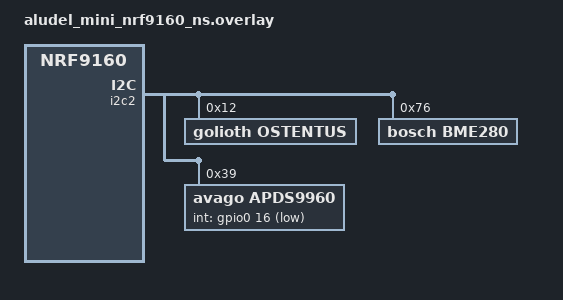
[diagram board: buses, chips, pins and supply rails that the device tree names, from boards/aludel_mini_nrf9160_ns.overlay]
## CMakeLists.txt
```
# Copyright (c) 2022-2023 Golioth, Inc.
# SPDX-License-Identifier: Apache-2.0

cmake_minimum_required(VERSION 3.20.0)

find_package(Zephyr REQUIRED HINTS $ENV{ZEPHYR_BASE})

project(soil-moisture)

target_sources(app PRIVATE src/main.c)
target_sources(app PRIVATE src/app_rpc.c)
target_sources(app PRIVATE src/app_settings.c)
target_sources(app PRIVATE src/app_state.c)
target_sources(app PRIVATE src/app_sensors.c)
```

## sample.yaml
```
# Copyright (c) 2022-2023 Golioth, Inc.
# SPDX-License-Identifier: Apache-2.0

sample:
  description: Golioth Soil Moisture Monitor Reference Design
  name: soil-moisture
common:
  harness: net
  platform_allow: >
    nrf9160dk_nrf9160_ns
  tags: golioth
```

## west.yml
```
# Copyright (c) 2022-2023 Golioth, Inc.
# SPDX-License-Identifier: Apache-2.0

manifest:
  version: 0.7

  projects:
    - name: golioth
      path: modules/lib/golioth
      revision: v0.7.1
      url: https://github.com/golioth/golioth-zephyr-sdk
      west-commands: scripts/west-commands.yml
      import:
        file: west-ncs.yml
        path-prefix: deps
        name-allowlist:
          - nrf
          - zephyr
          - cmsis
          - hal_nordic
          - mbedtls
          - mbedtls-nrf
          - mcuboot
          - net-tools
          - nrfxlib
          - qcbor
          - segger
          - tfm-mcuboot
          - tinycrypt
          - trusted-firmware-m
          - zcbor

    - name: golioth-zephyr-boards
      path: deps/modules/lib/golioth-boards
      revision: v1.0.1
      url: https://github.com/golioth/golioth-zephyr-boards

    - name: libostentus
      path: deps/modules/lib/libostentus
      revision: v1.0.0
      url: https://github.com/golioth/libostentus

    - name: zephyr-network-info
      path: deps/modules/lib/network-info
      revision: v1.0.1
      url: https://github.com/golioth/zephyr-network-info

  self:
    path: app
```

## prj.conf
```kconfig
# Copyright (c) 2022-2023 Golioth, Inc.
# SPDX-License-Identifier: Apache-2.0

# Enable Golioth Firmware SDK
CONFIG_GOLIOTH_FIRMWARE_SDK=y

# Golioth services used in this app
CONFIG_GOLIOTH_FW_UPDATE=y
CONFIG_GOLIOTH_LIGHTDB_STATE=y
CONFIG_LOG_BACKEND_GOLIOTH=y
CONFIG_GOLIOTH_RPC=y
CONFIG_GOLIOTH_SETTINGS=y
CONFIG_GOLIOTH_STREAM=y

# Enable common sample library
CONFIG_GOLIOTH_SAMPLE_COMMON=y

# Configure Golioth SDK dependencies
CONFIG_ZVFS_EVENTFD_MAX=14
CONFIG_ZVFS_OPEN_MAX=23
CONFIG_LOG_PROCESS_THREAD_STACK_SIZE=1536
CONFIG_MBEDTLS_ENABLE_HEAP=y
CONFIG_MBEDTLS_HEAP_SIZE=10240
CONFIG_NETWORKING=y
CONFIG_NET_IPV4=y
CONFIG_COAP_EXTENDED_OPTIONS_LEN=y
CONFIG_COAP_EXTENDED_OPTIONS_LEN_VALUE=39

# Application
CONFIG_MAIN_STACK_SIZE=2048
CONFIG_NET_LOG=y
CONFIG_NET_SHELL=y
CONFIG_REBOOT=y

# Flash memory (etc.) for firmware upgrade
CONFIG_FLASH=y
CONFIG_FLASH_MAP=y
CONFIG_NVS=y
CONFIG_STREAM_FLASH=y
CONFIG_IMG_MANAGER=y
CONFIG_IMG_ERASE_PROGRESSIVELY=y
CONFIG_REBOOT=y

# The rest of the runtime credentials config
CONFIG_SETTINGS=y
CONFIG_GOLIOTH_SETTINGS=y
CONFIG_SETTINGS_RUNTIME=y
CONFIG_GOLIOTH_SAMPLE_SETTINGS_AUTOLOAD=y
CONFIG_GOLIOTH_SAMPLE_SETTINGS_SHELL=y

# Misc.
CONFIG_JSON_LIBRARY=y

# Longer response length needed for network info
CONFIG_GOLIOTH_RPC_MAX_RESPONSE_LEN=512
CONFIG_I2C=y
CONFIG_SENSOR=y

# Shell Config
CONFIG_SHELL=y
CONFIG_I2C_SHELL=y
CONFIG_SENSOR_SHELL=y
```

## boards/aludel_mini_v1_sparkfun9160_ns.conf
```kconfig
# Copyright (c) 2023 Golioth, Inc.
# SPDX-License-Identifier: Apache-2.0

# General config
CONFIG_HEAP_MEM_POOL_SIZE=4096
CONFIG_NEWLIB_LIBC=y

# Networking
CONFIG_NET_SOCKETS_OFFLOAD=y
CONFIG_NET_IPV6=y
CONFIG_NET_IPV6_NBR_CACHE=n
CONFIG_NET_IPV6_MLD=n

# Increase native TLS socket implementation, so that it is chosen instead of
# offloaded nRF91 sockets
CONFIG_NET_SOCKETS_TLS_PRIORITY=35

# Modem library
CONFIG_NRF_MODEM_LIB=y
CONFIG_NRF_MODEM_LIB_ON_FAULT_APPLICATION_SPECIFIC=y

# LTE connectivity with network connection manager
CONFIG_LTE_CONNECTIVITY=y
CONFIG_NET_CONNECTION_MANAGER=y
CONFIG_NET_CONNECTION_MANAGER_STACK_SIZE=1024

# Increased sysworkq size, due to LTE connectivity
CONFIG_SYSTEM_WORKQUEUE_STACK_SIZE=2048

# Disable options y-selected by NCS for no good reason
CONFIG_MBEDTLS_KEY_EXCHANGE_DHE_PSK_ENABLED=n
CONFIG_MBEDTLS_KEY_EXCHANGE_DHE_RSA_ENABLED=n

# Battery Support
CONFIG_ALUDEL_BATTERY_MONITOR=y

# Add Network Info Support
CONFIG_MODEM_INFO=y
CONFIG_GOLIOTH_RPC_MAX_RESPONSE_LEN=512

# Generate MCUboot compatible images
CONFIG_BOOTLOADER_MCUBOOT=y
```

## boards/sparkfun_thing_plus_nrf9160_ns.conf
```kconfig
#
# Copyright (c) 2022 Golioth, Inc.
#
# SPDX-License-Identifier: Apache-2.0

# General config
CONFIG_HEAP_MEM_POOL_SIZE=4096
CONFIG_NEWLIB_LIBC=y

# Networking
CONFIG_NET_SOCKETS_OFFLOAD=y
CONFIG_NET_IPV6=y
CONFIG_NET_IPV6_NBR_CACHE=n
CONFIG_NET_IPV6_MLD=n

# Increase native TLS socket implementation, so that it is chosen instead of
# offloaded nRF91 sockets
CONFIG_NET_SOCKETS_TLS_PRIORITY=35

# Modem library
CONFIG_NRF_MODEM_LIB=y
CONFIG_NRF_MODEM_LIB_ON_FAULT_APPLICATION_SPECIFIC=y

# LTE connectivity with network connection manager
CONFIG_LTE_CONNECTIVITY=y
CONFIG_NET_CONNECTION_MANAGER=y
CONFIG_NET_CONNECTION_MANAGER_STACK_SIZE=1024

# Increased sysworkq size, due to LTE connectivity
CONFIG_SYSTEM_WORKQUEUE_STACK_SIZE=2048

# Disable options y-selected by NCS for no good reason
CONFIG_MBEDTLS_KEY_EXCHANGE_DHE_PSK_ENABLED=n
CONFIG_MBEDTLS_KEY_EXCHANGE_DHE_RSA_ENABLED=n

# Battery Support
CONFIG_ALUDEL_BATTERY_MONITOR=n

# Add Network Info Support
CONFIG_MODEM_INFO=y
CONFIG_GOLIOTH_RPC_MAX_RESPONSE_LEN=512

# Generate MCUboot compatible images
CONFIG_BOOTLOADER_MCUBOOT=y
```

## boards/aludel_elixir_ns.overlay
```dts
&i2c2 {
    /* Needed for I2C writes used by libostentus */
    zephyr,concat-buf-size = <48>;

    ostentus@12 {
        status = "okay";
        compatible = "golioth,ostentus";
        reg = <0x12>;
    };

    apds9960: apds9960@39 {
	compatible = "avago,apds9960";
	reg = <0x39>;
	int-gpios = <&gpio0 2 (GPIO_ACTIVE_LOW | GPIO_PULL_UP)>;
    };
};
```

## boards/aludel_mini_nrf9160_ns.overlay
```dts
&i2c2 {
    /* Needed for I2C writes used by libostentus */
    zephyr,concat-buf-size = <48>;

    ostentus@12 {
        status = "okay";
        compatible = "golioth,ostentus";
        reg = <0x12>;
    };

     bme280@76 {
	compatible = "bosch,bme280";
	reg = <0x76>;
        };


    apds9960: apds9960@39 {
	compatible = "avago,apds9960";
	reg = <0x39>;
	int-gpios = <&gpio0 16 (GPIO_ACTIVE_LOW)>;
    };
};
```

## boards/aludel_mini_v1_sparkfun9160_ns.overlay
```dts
/*
 * Copyright (c) 2023 Golioth, Inc.
 *
 * SPDX-License-Identifier: Apache-2.0
 */

/ {
        aliases {
                click-i2c = &i2c1;
        };
};

&i2c1 {
        status = "okay";
	zephyr,concat-buf-size = <48>;

        bme280@76 {
                compatible = "bosch,bme280";
                reg = <0x76>;
        };

        apds9960: apds9960@39 {
	        compatible = "avago,apds9960";
		reg = <0x39>;
		int-gpios = <&gpio0 16 (GPIO_ACTIVE_LOW)>;
        };
};
```

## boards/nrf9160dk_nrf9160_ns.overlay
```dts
/*
 * Copyright (c) 2023 Golioth, Inc.
 *
 * SPDX-License-Identifier: Apache-2.0
 */

/ {
	aliases {
		click-uart = &arduino_serial;
		click-i2c = &arduino_i2c;
		golioth-led = &led2;
	};
};

&arduino_i2c {
	/* Needed for I2C writes used by libostentus */
	zephyr,concat-buf-size = <48>;

	bme280@76 {
                compatible = "bosch,bme280";
                reg = <0x76>;
        };

        apds9960: apds9960@39 {
	        compatible = "avago,apds9960";
		reg = <0x39>;
		int-gpios = <&gpio0 3 (GPIO_ACTIVE_LOW | GPIO_PULL_UP)>;
        };

	lis2dh: lis2dh@18 {
		compatible = "st,lis2dh";
		reg = <0x18>;
	};
};

&pinctrl {
	/*
	 * Arduino Uno provides the same SCL/SDA on two sets of pins, but the
	 * nRF9160-DK maps these pins to two different pairs of GPIO. When using
	 * the Arduino Uno Click Shield board, the P0.18/P0.19 pair must be used.
	 */
	i2c2_default: i2c2_default {
		group1 {
			psels = <NRF_PSEL(TWIM_SDA, 0, 18)>,
				<NRF_PSEL(TWIM_SCL, 0, 19)>;
		};
	};

	i2c2_sleep: i2c2_sleep {
		group1 {
			psels = <NRF_PSEL(TWIM_SDA, 0, 18)>,
				<NRF_PSEL(TWIM_SCL, 0, 19)>;
			low-power-enable;
		};
	};

	/*
	 * The default pin group includes RTS/CTS HW flow control, but the Arduino
	 * Uno Click Shield board does not connect these pins (only TX/RX are used).
	 * This keeps RX/TX on the same pins, but just removes RTS/CTS from the
	 * pin groups.
	 */
	uart1_default: uart1_default {
		group1 {
			psels = <NRF_PSEL(UART_TX, 0, 1)>,
				<NRF_PSEL(UART_RX, 0, 0)>;
		};
	};

	uart1_sleep: uart1_sleep {
		group1 {
			psels = <NRF_PSEL(UART_TX, 0, 1)>,
				<NRF_PSEL(UART_RX, 0, 0)>;
			low-power-enable;
		};
	};
};
```

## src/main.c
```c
/*
 * Copyright (c) 2022-2023 Golioth, Inc.
 *
 * SPDX-License-Identifier: Apache-2.0
 */

#include <zephyr/logging/log.h>
LOG_MODULE_REGISTER(golioth_soil_moisture, LOG_LEVEL_DBG);

#include <app_version.h>
#include "app_rpc.h"
#include "app_settings.h"
#include "app_state.h"
#include "app_sensors.h"
#include <golioth/client.h>
#include <golioth/fw_update.h>
#include <samples/common/net_connect.h>
#include <samples/common/sample_credentials.h>
#include <zephyr/kernel.h>

#ifdef CONFIG_SOC_SERIES_NRF91X
#include <modem/lte_lc.h>
#endif
#ifdef CONFIG_LIB_OSTENTUS
#include <libostentus.h>
#include <libostentus_regmap.h>
static const struct device *o_dev = DEVICE_DT_GET_ANY(golioth_ostentus);
#endif
#ifdef CONFIG_ALUDEL_BATTERY_MONITOR
#include <battery_monitor.h>
#endif

#include <zephyr/drivers/gpio.h>

#ifdef CONFIG_MODEM_INFO
#include <modem/modem_info.h>
#endif

/* Current firmware version; update in VERSION */
static const char *_current_version =
	STRINGIFY(APP_VERSION_MAJOR) "." STRINGIFY(APP_VERSION_MINOR) "." STRINGIFY(APP_PATCHLEVEL);

static struct golioth_client *client;
K_SEM_DEFINE(connected, 0, 1);

static k_tid_t _system_thread = 0;

#if DT_NODE_EXISTS(DT_ALIAS(golioth_led))
static const struct gpio_dt_spec golioth_led = GPIO_DT_SPEC_GET(DT_ALIAS(golioth_led), gpios);
#endif /* DT_NODE_EXISTS(DT_ALIAS(golioth_led)) */
static const struct gpio_dt_spec user_btn = GPIO_DT_SPEC_GET(DT_ALIAS(sw1), gpios);
static struct gpio_callback button_cb_data;

/* forward declarations */
void golioth_connection_led_set(uint8_t state);

void wake_system_thread(void)
{
	k_wakeup(_system_thread);
}

static void on_client_event(struct golioth_client *client, enum golioth_client_event event,
			    void *arg)
{
	bool is_connected = (event == GOLIOTH_CLIENT_EVENT_CONNECTED);

	if (is_connected) {
		k_sem_give(&connected);
		golioth_connection_led_set(1);
	}
	LOG_INF("Golioth client %s", is_connected ? "connected" : "disconnected");
}

static void start_golioth_client(void)
{
	/* Get the client configuration from auto-loaded settings */
	const struct golioth_client_config *client_config = golioth_sample_credentials_get();

	/* Create and start a Golioth Client */
	client = golioth_client_create(client_config);

	/* Register Golioth on_connect callback */
	golioth_client_register_event_callback(client, on_client_event, NULL);

	/* Initialize DFU components */
	golioth_fw_update_init(client, _current_version);

	/*** Call Golioth APIs for other services in dedicated app files ***/

	/* Observe State service data */
	app_state_observe(client);

	/* Set Golioth Client for streaming sensor data */
	app_sensors_set_client(client);

	/* Register Settings service */
	app_settings_register(client);

	/* Register RPC service */
	app_rpc_register(client);
}

#ifdef CONFIG_SOC_SERIES_NRF91X

static void lte_handler(const struct lte_lc_evt *const evt)
{
	if (evt->type == LTE_LC_EVT_NW_REG_STATUS) {

		if ((evt->nw_reg_status == LTE_LC_NW_REG_REGISTERED_HOME) ||
		    (evt->nw_reg_status == LTE_LC_NW_REG_REGISTERED_ROAMING)) {

			/* Change the state of the Internet LED on Ostentus */
			IF_ENABLED(CONFIG_LIB_OSTENTUS, (ostentus_led_internet_set(o_dev, 1);));

			if (!client) {
				/* Create and start a Golioth Client */
				start_golioth_client();
			}
		}
	}
}

#endif /* CONFIG_SOC_SERIES_NRF91X */

#ifdef CONFIG_MODEM_INFO
static void log_modem_firmware_version(void)
{
	char sbuf[128];

	/* Initialize modem info */
	int err = modem_info_init();

	if (err) {
		LOG_ERR("Failed to initialize modem info: %d", err);
	}

	/* Log modem firmware version */
	modem_info_string_get(MODEM_INFO_FW_VERSION, sbuf, sizeof(sbuf));
	LOG_INF("Modem firmware version: %s", sbuf);
}
#endif

void button_pressed(const struct device *dev, struct gpio_callback *cb, uint32_t pins)
{
	LOG_DBG("Button pressed at %d", k_cycle_get_32());
	/* This function is an Interrupt Service Routine. Do not call functions that
	 * use other threads, or perform long-running operations here
	 */
	k_wakeup(_system_thread);
}

/* Set (unset) LED indicators for active Golioth connection */
void golioth_connection_led_set(uint8_t state)
{
	uint8_t pin_state = state ? 1 : 0;
	ARG_UNUSED(pin_state); /* silence warning if no LED/Ostentus present */

	/* Turn on Golioth logo LED once connected */
	IF_ENABLED(DT_NODE_EXISTS(DT_ALIAS(golioth_led)),
		(gpio_pin_set_dt(&golioth_led, pin_state);));

	/* Change the state of the Golioth LED on Ostentus */
	IF_ENABLED(CONFIG_LIB_OSTENTUS, (ostentus_led_golioth_set(o_dev, pin_state);));
}

int main(void)
{
	int err;

	LOG_INF("Start Golioth Soil Moisture Monitor sample");

	LOG_INF("Firmware version: %s", _current_version);
	IF_ENABLED(CONFIG_MODEM_INFO, (log_modem_firmware_version();));

	IF_ENABLED(CONFIG_LIB_OSTENTUS, (
		/* Reset Ostentus and pause for reboot */
		ostentus_reset(o_dev);
		k_msleep(300);

		/* Read firmware version from faceplate */
		char *o_version = (char *)calloc(32, sizeof(char));

		ostentus_version_get(o_dev, o_version, 32);
		LOG_INF("Ostentus reports firmware version: %s", o_version);
		free(o_version);

		/* Update Ostentus LEDS using bitmask (Power On and Battery) */
		ostentus_led_bitmask(o_dev, LED_POW | LED_BAT);

		/* Show Golioth Logo on Ostentus ePaper screen */
		ostentus_show_splash(o_dev);
	));

	/* Get system thread id so loop delay change event can wake main */
	_system_thread = k_current_get();

	/*Initialize sensors using sensor subsystem*/
	sensor_init();

#if DT_NODE_EXISTS(DT_ALIAS(golioth_led))
	/* Initialize Golioth logo LED */
	err = gpio_pin_configure_dt(&golioth_led, GPIO_OUTPUT_INACTIVE);
	if (err) {
		LOG_ERR("Unable to configure LED for Golioth Logo");
	}
#endif /* #if DT_NODE_EXISTS(DT_ALIAS(golioth_led)) */

#ifdef CONFIG_SOC_SERIES_NRF91X
	/* Start LTE asynchronously if the nRF9160 is used.
	 * Golioth Client will start automatically when LTE connects
	 */

	LOG_INF("Connecting to LTE, this may take some time...");
	lte_lc_connect_async(lte_handler);

#else
	/* If nRF9160 is not used, start the Golioth Client and block until connected */

	/* Run WiFi/DHCP if necessary */
	if (IS_ENABLED(CONFIG_GOLIOTH_SAMPLE_COMMON)) {
		net_connect();
	}

	/* Start Golioth client */
	start_golioth_client();

	/* Block until connected to Golioth */
	k_sem_take(&connected, K_FOREVER);
#endif /* CONFIG_SOC_SERIES_NRF91X */

	/* Set up user button */
	err = gpio_pin_configure_dt(&user_btn, GPIO_INPUT);
	if (err) {
		LOG_ERR("Error %d: failed to configure %s pin %d", err, user_btn.port->name,
			user_btn.pin);
		return err;
	}

	err = gpio_pin_interrupt_configure_dt(&user_btn, GPIO_INT_EDGE_TO_ACTIVE);
	if (err) {
		LOG_ERR("Error %d: failed to configure interrupt on %s pin %d", err,
			user_btn.port->name, user_btn.pin);
		return err;
	}

	gpio_init_callback(&button_cb_data, button_pressed, BIT(user_btn.pin));
	gpio_add_callback(user_btn.port, &button_cb_data);

	IF_ENABLED(CONFIG_LIB_OSTENTUS,(
		/* Set up a slideshow on Ostentus
		 *  - add up to 256 slides
		 *  - use the enum in app_sensors.h to add new keys
		 *  - values are updated using these keys (see app_sensors.c)
		 */
		ostentus_slide_add(o_dev,
				   MOISTURE_READING_KEY,
				   M_READING_LABEL,
				   strlen(M_READING_LABEL));
		ostentus_slide_add(o_dev, MOISTURE_LEVEL_KEY, M_LEVEL_LABEL, strlen(M_LEVEL_LABEL));
		ostentus_slide_add(o_dev,
				   MOISTURE_LIGHT_INT,
				   M_LIGHT_INT_LABEL,
				   strlen(M_LIGHT_INT_LABEL));
		ostentus_slide_add(o_dev, TEMPERATURE, M_TEMP_LABEL, strlen(M_TEMP_LABEL));
		ostentus_slide_add(o_dev, PRESSURE, M_PRESSURE_LABEL, strlen(M_PRESSURE_LABEL));
		ostentus_slide_add(o_dev, HUMIDITY, M_HUMIDITY_LABEL, strlen(M_HUMIDITY_LABEL));

		IF_ENABLED(CONFIG_ALUDEL_BATTERY_MONITOR, (
			ostentus_slide_add(o_dev,
					   BATTERY_V,
					   LABEL_BATTERY,
					   strlen(LABEL_BATTERY));
			ostentus_slide_add(o_dev,
					   BATTERY_PCT,
					   LABEL_BATTERY,
					   strlen(LABEL_BATTERY));
		));
		ostentus_slide_add(o_dev, FIRMWARE, LABEL_FIRMWARE, strlen(LABEL_FIRMWARE));

		/* Set the title of the Ostentus summary slide (optional) */
		ostentus_summary_title(o_dev, SUMMARY_TITLE, strlen(SUMMARY_TITLE));

		/* Update the Firmware slide with the firmware version */
		ostentus_slide_set(o_dev, FIRMWARE, (char *)_current_version,
			  strlen(_current_version));

		/* Start Ostentus slideshow with 30 second delay between slides */
		ostentus_slideshow(o_dev, 30000);
	));

	while (true) {
		app_sensors_read_and_stream();

		k_sleep(K_SECONDS(get_loop_delay_s()));
	}
}
```

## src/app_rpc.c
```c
/*
 * Copyright (c) 2023 Golioth, Inc.
 *
 * SPDX-License-Identifier: Apache-2.0
 */

#include <zephyr/logging/log.h>
#include <zephyr/logging/log_ctrl.h>
LOG_MODULE_REGISTER(app_rpc, LOG_LEVEL_DBG);

#include <net/golioth/system_client.h>
#include <net/golioth/rpc.h>
#include <zephyr/logging/log_ctrl.h>
#include <zephyr/sys/reboot.h>

#include <network_info.h>
#include "app_rpc.h"

static struct golioth_client *client;

static void reboot_work_handler(struct k_work *work)
{
	for (int8_t i = 5; i >= 0; i--) {
		if (i) {
			LOG_INF("Rebooting in %d seconds...", i);
		}
		k_sleep(K_SECONDS(1));
	}

	/* Sync logs before reboot */
	LOG_PANIC();

	sys_reboot(SYS_REBOOT_COLD);
}
K_WORK_DEFINE(reboot_work, reboot_work_handler);

static enum golioth_rpc_status on_get_network_info(zcbor_state_t *request_params_array,
						   zcbor_state_t *response_detail_map,
						   void *callback_arg)
{
	network_info_add_to_map(response_detail_map);

	return GOLIOTH_RPC_OK;
}

static enum golioth_rpc_status on_set_log_level(zcbor_state_t *request_params_array,
						zcbor_state_t *response_detail_map,
						void *callback_arg)
{
	double param_0;
	uint8_t log_level;
	bool ok;

	LOG_WRN("on_set_log_level");

	ok = zcbor_float_decode(request_params_array, &param_0);
	if (!ok) {
		LOG_ERR("Failed to decode array item");
		return GOLIOTH_RPC_INVALID_ARGUMENT;
	}

	log_level = (uint8_t)param_0;

	if ((log_level < 0) || (log_level > LOG_LEVEL_DBG)) {

		LOG_ERR("Requested log level is out of bounds: %d", log_level);
		return GOLIOTH_RPC_INVALID_ARGUMENT;
	}

	int source_id = 0;
	char *source_name;

	while (1) {
		source_name = (char *)log_source_name_get(0, source_id);
		if (source_name == NULL) {
			break;
		} else {
			LOG_WRN("Settings %s log level to: %d", source_name, log_level);
			log_filter_set(NULL, 0, source_id, log_level);
			++source_id;
		}
	}

	LOG_WRN("Log levels for %d modules set to: %d", source_id, log_level);

	ok = zcbor_tstr_put_lit(response_detail_map, "log_modules") &&
	     zcbor_float64_put(response_detail_map, (double)source_id);

	return GOLIOTH_RPC_OK;
}

static enum golioth_rpc_status on_reboot(zcbor_state_t *request_params_array,
					 zcbor_state_t *response_detail_map,
					 void *callback_arg)
{
	/* Use work queue so this RPC can return confirmation to Golioth */
	k_work_submit(&reboot_work);

	return GOLIOTH_RPC_OK;
}

static void rpc_log_if_register_failure(int err)
{
	if (err) {
		LOG_ERR("Failed to register RPC: %d", err);
	}
}

int app_rpc_init(struct golioth_client *state_client)
{
	client = state_client;
	int err = app_rpc_register(client);
	return err;
}

int app_rpc_observe(void)
{
	int err = golioth_rpc_observe(client);
	if (err) {
		LOG_ERR("Failed to observe RPC: %d", err);
	}
	return err;
}

int app_rpc_register(struct golioth_client *rpc_client)
{
	int err;

	err = golioth_rpc_register(rpc_client, "get_network_info", on_get_network_info, NULL);
	rpc_log_if_register_failure(err);

	err = golioth_rpc_register(rpc_client, "reboot", on_reboot, NULL);
	rpc_log_if_register_failure(err);

	err = golioth_rpc_register(rpc_client, "set_log_level", on_set_log_level, NULL);
	rpc_log_if_register_failure(err);

	return err;
}
```

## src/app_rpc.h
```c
/*
 * Copyright (c) 2023 Golioth, Inc.
 *
 * SPDX-License-Identifier: Apache-2.0
 */

#ifndef __APP_RPC_H__
#define __APP_RPC_H__

/**
 * Handle remote procedure calls received from Golioth, returning a status code
 * indicating the success or failure of the call.
 *
 * This demonstration implements the following RPCs:
 * - `get_network_info`: Query and return network information.
 * - `reboot`: reboot the device (no arguments)
 * - `set_log_level`: adjust the logging level for all registered modules (valid
 *   argument values: 0..4)
 *
 * https://docs.golioth.io/firmware/zephyr-device-sdk/remote-procedure-call
 */

#include <net/golioth/system_client.h>

int app_rpc_init(struct golioth_client *state_client);
int app_rpc_observe(void);
int app_rpc_register(struct golioth_client *rpc_client);

#endif /* __APP_RPC_H__ */
```

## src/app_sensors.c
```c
/*
 * Copyright (c) 2022-2023 Golioth, Inc.
 *
 * SPDX-License-Identifier: Apache-2.0
 */

#include <zephyr/logging/log.h>
LOG_MODULE_REGISTER(app_sensors, LOG_LEVEL_DBG);

#include <golioth/client.h>
#include <golioth/stream.h>
#include <zephyr/drivers/i2c.h>
#include <zephyr/drivers/gpio.h>
#include <zephyr/drivers/sensor.h>
#include <zephyr/kernel.h>

#include "app_sensors.h"
#include "app_settings.h"

#ifdef CONFIG_LIB_OSTENTUS
#include <libostentus.h>
static const struct device *o_dev = DEVICE_DT_GET_ANY(golioth_ostentus);
#endif
#ifdef CONFIG_ALUDEL_BATTERY_MONITOR
#include <battery_monitor.h>
#endif

static struct golioth_client *client;

/* Sensors */
static const struct device *imu_sensor;
static const struct device *weather_sensor;
static const struct device *light_sensor;

uint32_t moisture_level;

/* Callback for LightDB Stream */
static void async_error_handler(struct golioth_client *client, enum golioth_status status,
				const struct golioth_coap_rsp_code *coap_rsp_code, const char *path,
				void *arg)
{
	if (status != GOLIOTH_OK) {
		LOG_ERR("Async task failed: %d", status);
		return;
	}
}

/* This will be called by the main() loop */
/* Do all of your work here! */
void app_sensors_read_and_stream(void)
{
	int err;
	char json_buf[256];
	struct sensor_value temp = {0};
	struct sensor_value pressure = {0};
	struct sensor_value humidity = {0};
	struct sensor_value accel_x = {0};
	struct sensor_value accel_y = {0};
	struct sensor_value accel_z = {0};
	struct sensor_value intensity = {0};
	struct sensor_value red = {0};
	struct sensor_value green = {0};
	struct sensor_value blue = {0};

	/* Golioth custom hardware for demos */
	IF_ENABLED(CONFIG_ALUDEL_BATTERY_MONITOR, (
		read_and_report_battery(client);
		IF_ENABLED(CONFIG_LIB_OSTENTUS, (
			ostentus_slide_set(o_dev,
					   BATTERY_V,
					   get_batt_v_str(),
					   strlen(get_batt_v_str()));
			ostentus_slide_set(o_dev,
					   BATTERY_PCT,
					   get_batt_pct_str(),
					   strlen(get_batt_pct_str()));
		));
	));

	/* Direct I2C access to MCP3221 */
	uint8_t mcp3221[2] = {0};
	uint32_t moisture_reading = 0;

	const struct device *i2c_dev = DEVICE_DT_GET(DT_ALIAS(click_i2c));
	if (i2c_dev==NULL||!device_is_ready(i2c_dev))
	{
		LOG_ERR("Could not get i2c device\n");
		return;
	}

	/* IMU sensor reading */
	err = sensor_sample_fetch(imu_sensor);
	if (err) {
		LOG_ERR("IMU sensor fetch failed: %d", err);
	} else {
		sensor_channel_get(imu_sensor, SENSOR_CHAN_ACCEL_X, &accel_x);
		sensor_channel_get(imu_sensor, SENSOR_CHAN_ACCEL_Y, &accel_y);
		sensor_channel_get(imu_sensor, SENSOR_CHAN_ACCEL_Z, &accel_z);

		LOG_DBG("IMU: x=%d.%06d; y=%d.%06d, z=%d.%06d",
			accel_x.val1, abs(accel_x.val2),
			accel_y.val1, abs(accel_y.val2),
			accel_z.val1, abs(accel_z.val2));
	}

	/* Weather Sensor Reading */
	err = sensor_sample_fetch(weather_sensor);
	if (err) {
		LOG_ERR("Weather sensor fetch failed: %d", err);
	} else {
		sensor_channel_get(weather_sensor, SENSOR_CHAN_AMBIENT_TEMP, &temp);
		sensor_channel_get(weather_sensor, SENSOR_CHAN_PRESS, &pressure);
		sensor_channel_get(weather_sensor, SENSOR_CHAN_HUMIDITY, &humidity);

		LOG_DBG("Weather: temp=%d.%06d; pressure=%d.%06d, humidity=%d.%06d",
			temp.val1, abs(temp.val2),
			pressure.val1, abs(pressure.val2),
			humidity.val1, abs(humidity.val2));
	}

	/* Light Sensor Reading */
	err = sensor_sample_fetch(light_sensor);
	if (err) {
		LOG_ERR("Light sensor fetch failed: %d", err);
	} else {
		sensor_channel_get(light_sensor, SENSOR_CHAN_LIGHT, &intensity);
		sensor_channel_get(light_sensor, SENSOR_CHAN_RED, &red);
		sensor_channel_get(light_sensor, SENSOR_CHAN_GREEN, &green);
		sensor_channel_get(light_sensor, SENSOR_CHAN_BLUE, &blue);

		LOG_DBG("Light: %d; r=%d, g=%d, b=%d", intensity.val1, red.val1, green.val1, blue.val1);
	}

	/* Read the data register from the MCP3221 */
	uint8_t write_data[1] = { 0x00 };

	err = i2c_write_read(i2c_dev, 0x4D, write_data, 1, mcp3221, 2);
	if (err) {
		LOG_ERR("Unable get Moisture Reading (err %i)", err);
	} else {
		moisture_reading = (mcp3221[0] << 8) + mcp3221[1];
		LOG_DBG("Moisture Reading: %d", moisture_reading);

		// Remember, the values are inverted! The value of a "0" moisture is higher than "100"
		if (moisture_reading > get_moisture_level_threshold(0)) {
			moisture_level = 0;
			LOG_DBG("Moisture level set to 0");
		} else if (moisture_reading > get_moisture_level_threshold(20)
			&& moisture_reading < get_moisture_level_threshold(0)) {
			moisture_level = 20;
			LOG_DBG("Moisture level set to 20");

		} else if (moisture_reading > get_moisture_level_threshold(40)
			&& moisture_reading < get_moisture_level_threshold(20)) {
			moisture_level = 40;
			LOG_DBG("Moisture level set to 40");

		} else if (moisture_reading > get_moisture_level_threshold(60)
			&& moisture_reading < get_moisture_level_threshold(40)) {
			moisture_level = 60;
			LOG_DBG("Moisture level set to 60");

		} else if (moisture_reading > get_moisture_level_threshold(80)
			&& moisture_reading < get_moisture_level_threshold(60)) {
			moisture_level = 80;
			LOG_DBG("Moisture level set to 80");

		} else if (moisture_reading < get_moisture_level_threshold(80)) {
			moisture_level = 100;
			LOG_DBG("Moisture level set to 100");

		} else {
			/* Error state */
			LOG_ERR("Your math or your moisture threshold limits are wrong. Check settings.");
		}

		LOG_DBG("Moisture level is %d", moisture_level);
	}

	/* Send sensor data to Golioth */
	snprintk(json_buf, sizeof(json_buf),
		"{\"imu\":{\"accel_x\":%f,\"accel_y\":%f,\"accel_z\":%f},\
		\"weather\":{\"temp\":%f,\"pressure\":%f,\"humidity\":%f},\
		\"moisture\":{\"raw\":%d,\"level\":%d},\
		\"light\":{\"int\":%d,\"r\":%d,\"g\":%d,\"b\":%d}}",
		sensor_value_to_double(&accel_x),
		sensor_value_to_double(&accel_y),
		sensor_value_to_double(&accel_z),
		sensor_value_to_double(&temp),
		sensor_value_to_double(&pressure),
		sensor_value_to_double(&humidity),
		moisture_reading,			// send back raw moisture readings from i2c sensor
		moisture_level,				// this is the 'level' that will be used in animations on the console, currently a fake value.
		intensity.val1,
		red.val1,
		green.val1,
		blue.val1
		);

	/* Only stream sensor data if connected */
	if (golioth_client_is_connected(client)) {
		err = golioth_stream_set_async(client,
					       "sensor",
					       GOLIOTH_CONTENT_TYPE_JSON,
					       json_buf,
					       strlen(json_buf),
					       async_error_handler,
					       NULL);

		if (err) {
			LOG_ERR("Failed to send sensor data to Golioth: %d", err);
		}
	}

	/* Golioth custom hardware for demos */
	IF_ENABLED(CONFIG_LIB_OSTENTUS, (
		/* Update slide values on Ostentus
		 *  -values should be sent as strings
		 *  -use the enum from app_sensors.h for slide key values
		 */
		snprintk(json_buf, sizeof(json_buf), "%d", moisture_reading);
		ostentus_slide_set(o_dev, MOISTURE_READING_KEY, json_buf, strlen(json_buf));

		snprintk(json_buf, sizeof(json_buf), "%d", moisture_level);
		ostentus_slide_set(o_dev, MOISTURE_LEVEL_KEY, json_buf, strlen(json_buf));

		snprintk(json_buf, sizeof(json_buf), "%d", intensity.val1);
		ostentus_slide_set(o_dev, MOISTURE_LIGHT_INT, json_buf, strlen(json_buf));

		snprintk(json_buf, sizeof(json_buf), "%d.%d C", temp.val1, (temp.val2 / 10000));
		ostentus_slide_set(o_dev, TEMPERATURE, json_buf, strlen(json_buf));

		snprintk(json_buf, sizeof(json_buf), "%d.%d kPa", pressure.val1, (pressure.val2 / 10000));
		ostentus_slide_set(o_dev, PRESSURE, json_buf, strlen(json_buf));

		snprintk(json_buf, sizeof(json_buf), "%d.%d %%RH", humidity.val1, (humidity.val2 / 10000));
		ostentus_slide_set(o_dev, HUMIDITY, json_buf, strlen(json_buf));
	));
}

void app_sensors_set_client(struct golioth_client *sensors_client)
{
	client = sensors_client;
}

void sensor_init(void)
{
	LOG_DBG("LIS2DH Init");
	imu_sensor = (void *) DEVICE_DT_GET_ANY(st_lis2dh);
	if (imu_sensor == NULL) {
		LOG_ERR("Could not get lis2dh device");
	}

	LOG_DBG("BME280 Init");
	weather_sensor = (void *) DEVICE_DT_GET_ANY(bosch_bme280);
	if (weather_sensor == NULL) {
		LOG_ERR("Could not get bme280 device");
	}

	LOG_DBG("APDS9960 Init");
	light_sensor = (void *) DEVICE_DT_GET_ANY(avago_apds9960);
	if (light_sensor == NULL) {
		LOG_ERR("Could not get apds9960 device");
	}
}
```

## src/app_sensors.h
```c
/*
 * Copyright (c) 2022-2023 Golioth, Inc.
 *
 * SPDX-License-Identifier: Apache-2.0
 */

#ifndef __APP_SENSORS_H__
#define __APP_SENSORS_H__

/** The `app_sensors.c` file performs the important work of this application
 * which is to read sensor values and report them to the Golioth LightDB Stream
 * as time-series data.
 *
 * For this demonstration, a `counter` value is periodically logged and pushed
 * to the Golioth time-series database. This simulated sensor reading occurs
 * when the loop in `main.c` calls `app_sensors_read_and_stream()`. The
 * frequency of this loop is determined by values received from the Golioth
 * Settings Service (see app_settings.h).
 *
 * https://docs.golioth.io/firmware/zephyr-device-sdk/light-db-stream/
 */

#include <golioth/client.h>

void app_sensors_set_client(struct golioth_client *sensors_client);
void app_sensors_read_and_stream(void);
void sensor_init(void);

/* Ostentus slide labels */
#define M_READING_LABEL         "Moisture Raw"
#define M_LEVEL_LABEL           "Moisture Lvl"
#define M_LIGHT_INT_LABEL       "Light Lvl"
#define M_TEMP_LABEL            "Temperature"
#define M_PRESSURE_LABEL        "Pressure"
#define M_HUMIDITY_LABEL        "Humidity"
#define LABEL_BATTERY		"Battery"
#define LABEL_FIRMWARE		"Firmware"
#define SUMMARY_TITLE		"Soil Moisture"

/**
 * Each Ostentus slide needs a unique key. You may add additional slides by
 * inserting elements with the name of your choice to this enum.
 */
typedef enum {
	MOISTURE_READING_KEY,
	MOISTURE_LEVEL_KEY,
	MOISTURE_LIGHT_INT,
	TEMPERATURE,
	PRESSURE,
	HUMIDITY,
#ifdef CONFIG_ALUDEL_BATTERY_MONITOR
	BATTERY_V,
	BATTERY_PCT,
#endif
	FIRMWARE
} slide_key;

#endif /* __APP_SENSORS_H__ */
```

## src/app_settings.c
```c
/*
 * Copyright (c) 2022-2023 Golioth, Inc.
 *
 * SPDX-License-Identifier: Apache-2.0
 */

#include <zephyr/logging/log.h>
LOG_MODULE_REGISTER(app_settings, LOG_LEVEL_DBG);

#include <golioth/client.h>
#include <golioth/settings.h>
#include "main.h"
#include "app_settings.h"

static int32_t _loop_delay_s = 60;
#define LOOP_DELAY_S_MAX 43200
#define LOOP_DELAY_S_MIN 1

#define MIN_MOISTURE_VALUE 1
#define MAX_MOISTURE_VALUE 5000

static int32_t _MOISTURE_LEVEL_0 = 3400;
static int32_t _MOISTURE_LEVEL_20 = 3200;
static int32_t _MOISTURE_LEVEL_40 = 3000;
static int32_t _MOISTURE_LEVEL_60 = 2800;
static int32_t _MOISTURE_LEVEL_80 = 2600;

int32_t get_loop_delay_s(void)
{
	return _loop_delay_s;
}

int32_t get_moisture_level_threshold(uint32_t moisture_threshold)
{
	switch (moisture_threshold) {
	case 0:
		return _MOISTURE_LEVEL_0;
		break;

	case 20:
		return _MOISTURE_LEVEL_20;
		break;

	case 40:
		return _MOISTURE_LEVEL_40;
		break;

	case 60:
		return _MOISTURE_LEVEL_60;
		break;

	case 80:
		return _MOISTURE_LEVEL_80;
		break;

	default:
		LOG_ERR("Passed invalid value to get_moisture_level() function");
		return -ENOTSUP;
		break;
	}
}

static enum golioth_settings_status on_loop_delay_setting(int32_t new_value, void *arg)
{
	_loop_delay_s = new_value;
	LOG_INF("Set loop delay to %i seconds", new_value);
	wake_system_thread();
	return GOLIOTH_SETTINGS_SUCCESS;
}

static enum golioth_settings_status on_moisture_level_setting(int32_t new_value, void *arg)
{
	intptr_t m_level = (intptr_t) arg;
	int32_t *stored_value;

	switch (m_level) {
		case 0:
			stored_value = &_MOISTURE_LEVEL_0;
			break;
		case 20:
			stored_value = &_MOISTURE_LEVEL_20;
			break;
		case 40:
			stored_value = &_MOISTURE_LEVEL_40;
			break;
		case 60:
			stored_value = &_MOISTURE_LEVEL_60;
			break;
		case 80:
			stored_value = &_MOISTURE_LEVEL_80;
			break;
		default:
			return GOLIOTH_SETTINGS_GENERAL_ERROR;

	}

	/* Only update if value has changed */
	if (*stored_value == new_value) {
		LOG_DBG("Received MOISTURE_LEVEL_%li already matches local value.", m_level);
	} else {
		*stored_value = new_value;
		LOG_INF("Set Moisture Level %li to %d", m_level, *stored_value);
		wake_system_thread();
	}

	return GOLIOTH_SETTINGS_SUCCESS;
}

int app_settings_register(struct golioth_client *client)
{
	struct golioth_settings *settings = golioth_settings_init(client);
	int err;

	err = golioth_settings_register_int_with_range(settings,
						       "LOOP_DELAY_S",
						       LOOP_DELAY_S_MIN,
						       LOOP_DELAY_S_MAX,
						       on_loop_delay_setting,
						       NULL);

	if (err) {
		LOG_ERR("Failed to register LOOP_DELAY_S settings callback: %d", err);
	}

	err = golioth_settings_register_int_with_range(settings,
						       "MOISTURE_LEVEL_0",
						       MIN_MOISTURE_VALUE,
						       MAX_MOISTURE_VALUE,
						       on_moisture_level_setting,
						       (void *) 0);

	if (err) {
		LOG_ERR("Failed to register MOISTURE_LEVEL_0 settings callback: %d", err);
	}

	err = golioth_settings_register_int_with_range(settings,
						       "MOISTURE_LEVEL_20",
						       MIN_MOISTURE_VALUE,
						       MAX_MOISTURE_VALUE,
						       on_moisture_level_setting,
						       (void *) 20);

	if (err) {
		LOG_ERR("Failed to register MOISTURE_LEVEL_20 settings callback: %d", err);
	}

	err = golioth_settings_register_int_with_range(settings,
						       "MOISTURE_LEVEL_40",
						       MIN_MOISTURE_VALUE,
						       MAX_MOISTURE_VALUE,
						       on_moisture_level_setting,
						       (void *) 40);

	if (err) {
		LOG_ERR("Failed to register MOISTURE_LEVEL_40 settings callback: %d", err);
	}

	err = golioth_settings_register_int_with_range(settings,
						       "MOISTURE_LEVEL_60",
						       MIN_MOISTURE_VALUE,
						       MAX_MOISTURE_VALUE,
						       on_moisture_level_setting,
						       (void *) 60);

	if (err) {
		LOG_ERR("Failed to register MOISTURE_LEVEL_60 settings callback: %d", err);
	}

	err = golioth_settings_register_int_with_range(settings,
						       "MOISTURE_LEVEL_80",
						       MIN_MOISTURE_VALUE,
						       MAX_MOISTURE_VALUE,
						       on_moisture_level_setting,
						       (void *) 80);

	if (err) {
		LOG_ERR("Failed to register MOISTURE_LEVEL_80 settings callback: %d", err);
	}

	return 0;
}
```

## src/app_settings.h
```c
/*
 * Copyright (c) 2022-2023 Golioth, Inc.
 *
 * SPDX-License-Identifier: Apache-2.0
 */

/**
 * Process changes received from the Golioth Settings Service and return a code
 * to Golioth to indicate the success or failure of the update.
 *
 * In this demonstration, the device looks for the `LOOP_DELAY_S` key from the
 * Settings Service and uses this value to determine the delay between sensor
 * reads (the period of sleep in the loop of `main.c`.
 *
 * https://docs.golioth.io/firmware/zephyr-device-sdk/device-settings-service
 */

#ifndef __APP_SETTINGS_H__
#define __APP_SETTINGS_H__

#include <stdint.h>
#include <golioth/client.h>

int32_t get_loop_delay_s(void);
int app_settings_register(struct golioth_client *client);
int32_t get_moisture_level_threshold(uint32_t moisture_threshold);

#endif /* __APP_SETTINGS_H__ */
```

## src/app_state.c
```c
/*
 * Copyright (c) 2022-2023 Golioth, Inc.
 *
 * SPDX-License-Identifier: Apache-2.0
 */

#include <zephyr/logging/log.h>
LOG_MODULE_REGISTER(app_state, LOG_LEVEL_DBG);

#include <golioth/client.h>
#include <golioth/lightdb_state.h>
#include <zephyr/data/json.h>
#include <zephyr/kernel.h>
#include "json_helper.h"

#include "app_state.h"
#include "app_sensors.h"

#define DEVICE_STATE_FMT "{\"example_int0\":%d,\"example_int1\":%d}"

uint32_t _example_int0;
uint32_t _example_int1 = 1;

static struct golioth_client *client;

static void async_handler(struct golioth_client *client,
			  enum golioth_status status,
			  const struct golioth_coap_rsp_code *coap_rsp_code,
			  const char *path,
			  void *arg)
{
	if (status != GOLIOTH_OK) {
		LOG_WRN("Failed to set state: %d", status);
		return;
	}

	LOG_DBG("State successfully set");
}

int app_state_reset_desired(void)
{
	LOG_INF("Resetting \"%s\" LightDB State endpoint to defaults.", APP_STATE_DESIRED_ENDP);

	char sbuf[sizeof(DEVICE_STATE_FMT) + 4]; /* space for two "-1" values */

	snprintk(sbuf, sizeof(sbuf), DEVICE_STATE_FMT, -1, -1);

	int err;

	err = golioth_lightdb_set_async(client,
					APP_STATE_DESIRED_ENDP,
					GOLIOTH_CONTENT_TYPE_JSON,
					sbuf,
					strlen(sbuf),
					async_handler,
					NULL);
	if (err) {
		LOG_ERR("Unable to write to LightDB State: %d", err);
	}
	return err;
}

int app_state_update_actual(void)
{

	char sbuf[sizeof(DEVICE_STATE_FMT) + 10]; /* space for uint16 values */

	snprintk(sbuf, sizeof(sbuf), DEVICE_STATE_FMT, _example_int0, _example_int1);

	int err;

	err = golioth_lightdb_set_async(client,
					APP_STATE_ACTUAL_ENDP,
					GOLIOTH_CONTENT_TYPE_JSON,
					sbuf,
					strlen(sbuf),
					async_handler,
					NULL);

	if (err) {
		LOG_ERR("Unable to write to LightDB State: %d", err);
	}
	return err;
}

static void app_state_desired_handler(struct golioth_client *client, enum golioth_status status,
				      const struct golioth_coap_rsp_code *coap_rsp_code,
				      const char *path, const uint8_t *payload, size_t payload_size,
				      void *arg)
{
	int err = 0;
	int ret;

	if (status != GOLIOTH_OK) {
		LOG_ERR("Failed to receive '%s' endpoint: %d", APP_STATE_DESIRED_ENDP, status);
		return;
	}

	LOG_HEXDUMP_DBG(payload, payload_size, APP_STATE_DESIRED_ENDP);

	struct app_state parsed_state;

	ret = json_obj_parse((char *)payload, payload_size, app_state_descr,
			     ARRAY_SIZE(app_state_descr), &parsed_state);

	if (ret < 0) {
		LOG_ERR("Error parsing desired values: %d", ret);
		app_state_reset_desired();
		return;
	}

	uint8_t desired_processed_count = 0;
	uint8_t state_change_count = 0;

	if (ret & 1 << 0) {
		/* Process example_int0 */
		if ((parsed_state.example_int0 >= 0) && (parsed_state.example_int0 < 65536)) {
			LOG_DBG("Validated desired example_int0 value: %d",
				parsed_state.example_int0);
			if (_example_int0 != parsed_state.example_int0) {
				_example_int0 = parsed_state.example_int0;
				++state_change_count;
			}
			++desired_processed_count;
		} else if (parsed_state.example_int0 == -1) {
			LOG_DBG("No change requested for example_int0");
		} else {
			LOG_ERR("Invalid desired example_int0 value: %d",
				parsed_state.example_int0);
			++desired_processed_count;
		}
	}
	if (ret & 1 << 1) {
		/* Process example_int1 */
		if ((parsed_state.example_int1 >= 0) && (parsed_state.example_int1 < 65536)) {
			LOG_DBG("Validated desired example_int1 value: %d",
				parsed_state.example_int1);
			if (_example_int1 != parsed_state.example_int1) {
				_example_int1 = parsed_state.example_int1;
				++state_change_count;
			}
			++desired_processed_count;
		} else if (parsed_state.example_int1 == -1) {
			LOG_DBG("No change requested for example_int1");
		} else {
			LOG_ERR("Invalid desired example_int1 value: %d",
				parsed_state.example_int1);
			++desired_processed_count;
		}
	}

	if (state_change_count) {
		/* The state was changed, so update the state on the Golioth servers */
		err = app_state_update_actual();
	}

	if (desired_processed_count) {
		/* We processed some desired changes to return these to -1 on the server
		 * to indicate the desired values were received.
		 */
		err = app_state_reset_desired();
	}

	if (err) {
		LOG_ERR("Failed to update cloud state: %d", err);
	}
}

int app_state_observe(struct golioth_client *state_client)
{
	int err;

	client = state_client;

	err = golioth_lightdb_observe_async(client,
					    APP_STATE_DESIRED_ENDP,
					    GOLIOTH_CONTENT_TYPE_JSON,
					    app_state_desired_handler,
					    NULL);
	if (err) {
		LOG_WRN("failed to observe lightdb path: %d", err);
		return err;
	}

	/* This will only run once. It updates the actual state of the device
	 * with the Golioth servers. Future updates will be sent whenever
	 * changes occur.
	 */
	err = app_state_update_actual();

	return err;
}
```

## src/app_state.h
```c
/*
 * Copyright (c) 2022-2023 Golioth, Inc.
 *
 * SPDX-License-Identifier: Apache-2.0
 */

/** Observe and write to example endpoints for stateful data on the Golioth
 * LightDB State Service.
 *
 * This demonstration exhibits (the concept of Digital
 * Twin)[https://blog.golioth.io/better-iot-design-patterns-desired-state-vs-actual-state/].
 * It implements a _desired_ state which the cloud can set to request the device
 * change its state, and an _actual_ state where the device reports its state.
 *
 * After receiving and processing a desired state, the device will reset the
 * desired state (`APP_STATE_DESIRED_ENDP`) to `-1` indicating the data has been
 * processed, and update the actual state (`APP_STATE_ACTUAL_ENDP`) to report
 * the new state of the device.
 *
 * The device should write to the _actual state_ endpoint, the cloud should not.
 * By convention the cloud should consider the _actual state_ values read-only.
 *
 * https://docs.golioth.io/firmware/zephyr-device-sdk/light-db/
 */

#ifndef __APP_STATE_H__
#define __APP_STATE_H__

#include <net/golioth/system_client.h>

#define APP_STATE_DESIRED_ENDP "desired"
#define APP_STATE_ACTUAL_ENDP  "state"

void app_state_init(struct golioth_client *state_client);
void app_state_observe(void);
void app_state_update_actual(void);

#endif /* __APP_STATE_H__ */
```

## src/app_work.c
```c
/*
 * Copyright (c) 2023 Golioth, Inc.
 *
 * SPDX-License-Identifier: Apache-2.0
 */

#include <zephyr/logging/log.h>
LOG_MODULE_REGISTER(app_work, LOG_LEVEL_DBG);

#include <net/golioth/system_client.h>
#include <zephyr/drivers/gpio.h>
#include <zephyr/drivers/sensor.h>
#include <stdlib.h>
#include <zephyr/drivers/i2c.h>
#include "app_settings.h"

#include "app_work.h"

#ifdef CONFIG_LIB_OSTENTUS
#include <libostentus.h>
#endif
#ifdef CONFIG_ALUDEL_BATTERY_MONITOR
#include "battery_monitor/battery.h"
#endif

static struct golioth_client *client;

/* Sensors */
static const struct device *imu_sensor;
static const struct device *weather_sensor;
static const struct device *light_sensor;

uint32_t moisture_level;

/* Callback for LightDB Stream */
static int async_error_handler(struct golioth_req_rsp *rsp)
{
	if (rsp->err) {
		LOG_ERR("Async task failed: %d", rsp->err);
		return rsp->err;
	}

	LOG_DBG("Successful Async LightDB Stream write!");

	return 0;
}

/* This will be called by the main() loop */
/* Do all of your work here! */
void app_work_sensor_read(void)
{
	int err;
	char json_buf[256];
	struct sensor_value temp = {0};
	struct sensor_value pressure = {0};
	struct sensor_value humidity = {0};
	struct sensor_value accel_x = {0};
	struct sensor_value accel_y = {0};
	struct sensor_value accel_z = {0};
	struct sensor_value intensity = {0};
	struct sensor_value red = {0};
	struct sensor_value green = {0};
	struct sensor_value blue = {0};

	IF_ENABLED(CONFIG_ALUDEL_BATTERY_MONITOR, (
		read_and_report_battery();
		slide_set(BATTERY_V, get_batt_v_str(), strlen(get_batt_v_str()));
		slide_set(BATTERY_LVL, get_batt_lvl_str(), strlen(get_batt_lvl_str()));
	));

	/* Direct I2C access to MCP3221 */
	uint8_t mcp3221[2] = {0};
	uint32_t moisture_reading = 0;

	const struct device *i2c_dev = DEVICE_DT_GET(DT_ALIAS(click_i2c));
	if (i2c_dev==NULL||!device_is_ready(i2c_dev))
	{
		LOG_ERR("Could not get i2c device\n");
		return;
	}

	/* IMU sensor reading */
	err = sensor_sample_fetch(imu_sensor);
	if (err) {
		LOG_ERR("IMU sensor fetch failed: %d", err);
	} else {
		sensor_channel_get(imu_sensor, SENSOR_CHAN_ACCEL_X, &accel_x);
		sensor_channel_get(imu_sensor, SENSOR_CHAN_ACCEL_Y, &accel_y);
		sensor_channel_get(imu_sensor, SENSOR_CHAN_ACCEL_Z, &accel_z);

		LOG_DBG("IMU: x=%d.%06d; y=%d.%06d, z=%d.%06d",
			accel_x.val1, abs(accel_x.val2),
			accel_y.val1, abs(accel_y.val2),
			accel_z.val1, abs(accel_z.val2));
	}

	/* Weather Sensor Reading */
	err = sensor_sample_fetch(weather_sensor);
	if (err) {
		LOG_ERR("Weather sensor fetch failed: %d", err);
	} else {
		sensor_channel_get(weather_sensor, SENSOR_CHAN_AMBIENT_TEMP, &temp);
		sensor_channel_get(weather_sensor, SENSOR_CHAN_PRESS, &pressure);
		sensor_channel_get(weather_sensor, SENSOR_CHAN_HUMIDITY, &humidity);

		LOG_DBG("Weather: temp=%d.%06d; pressure=%d.%06d, humidity=%d.%06d",
			temp.val1, abs(temp.val2),
			pressure.val1, abs(pressure.val2),
			humidity.val1, abs(humidity.val2));
	}

	/* Light Sensor Reading */
	err = sensor_sample_fetch(light_sensor);
	if (err) {
		LOG_ERR("Light sensor fetch failed: %d", err);
	} else {
		sensor_channel_get(light_sensor, SENSOR_CHAN_LIGHT, &intensity);
		sensor_channel_get(light_sensor, SENSOR_CHAN_RED, &red);
		sensor_channel_get(light_sensor, SENSOR_CHAN_GREEN, &green);
		sensor_channel_get(light_sensor, SENSOR_CHAN_BLUE, &blue);

		LOG_DBG("Light: %d; r=%d, g=%d, b=%d", intensity.val1, red.val1, green.val1, blue.val1);
	}

	/* Read the data register from the MCP3221 */
	err = i2c_burst_read(i2c_dev, 0x4D, 0x00, mcp3221, 2);
	if (err) {
		LOG_ERR("Unable get Moisture Reading (err %i)", err);
	} else {
		moisture_reading = (mcp3221[0] << 8) + mcp3221[1];
		LOG_DBG("Moisture Reading: %d", moisture_reading);

		// Remember, the values are inverted! The value of a "0" moisture is higher than "100"
		if (moisture_reading > get_moisture_level_threshold(0)) {
			moisture_level = 0;
			LOG_DBG("Moisture level set to 0");
		} else if (moisture_reading > get_moisture_level_threshold(20)
			&& moisture_reading < get_moisture_level_threshold(0)) {
			moisture_level = 20;
			LOG_DBG("Moisture level set to 20");

		} else if (moisture_reading > get_moisture_level_threshold(40)
			&& moisture_reading < get_moisture_level_threshold(20)) {
			moisture_level = 40;
			LOG_DBG("Moisture level set to 40");

		} else if (moisture_reading > get_moisture_level_threshold(60)
			&& moisture_reading < get_moisture_level_threshold(40)) {
			moisture_level = 60;
			LOG_DBG("Moisture level set to 60");

		} else if (moisture_reading > get_moisture_level_threshold(80)
			&& moisture_reading < get_moisture_level_threshold(60)) {
			moisture_level = 80;
			LOG_DBG("Moisture level set to 80");

		} else if (moisture_reading < get_moisture_level_threshold(80)) {
			moisture_level = 100;
			LOG_DBG("Moisture level set to 100");

		} else {
			/* Error state */
			LOG_ERR("Your math or your moisture threshold limits are wrong. Check settings.");
		}

		LOG_DBG("Moisture level is %d", moisture_level);
	}

	/* Send sensor data to Golioth */
	snprintk(json_buf, sizeof(json_buf),
		"{\"imu\":{\"accel_x\":%f,\"accel_y\":%f,\"accel_z\":%f},\
		\"weather\":{\"temp\":%f,\"pressure\":%f,\"humidity\":%f},\
		\"moisture\":{\"raw\":%d,\"level\":%d},\
		\"light\":{\"int\":%d,\"r\":%d,\"g\":%d,\"b\":%d}}",
		sensor_value_to_double(&accel_x),
		sensor_value_to_double(&accel_y),
		sensor_value_to_double(&accel_z),
		sensor_value_to_double(&temp),
		sensor_value_to_double(&pressure),
		sensor_value_to_double(&humidity),
		moisture_reading,			// send back raw moisture readings from i2c sensor
		moisture_level,				// this is the 'level' that will be used in animations on the console, currently a fake value.
		intensity.val1,
		red.val1,
		green.val1,
		blue.val1
		);

	err = golioth_stream_push_cb(client, "sensor", GOLIOTH_CONTENT_FORMAT_APP_JSON,
				     json_buf, strlen(json_buf), async_error_handler, NULL);

	if (err) {
		LOG_ERR("Failed to send sensor data to Golioth: %d", err);
	}

	IF_ENABLED(CONFIG_LIB_OSTENTUS, (
		/* Update slide values on Ostentus
		 *  -values should be sent as strings
		 *  -use the enum from app_work.h for slide key values
		 */
		snprintk(json_buf, sizeof(json_buf), "%d", moisture_reading);
		slide_set(MOISTURE_READING_KEY, json_buf, strlen(json_buf));

		snprintk(json_buf, sizeof(json_buf), "%d", moisture_level);
		slide_set(MOISTURE_LEVEL_KEY, json_buf, strlen(json_buf));

		snprintk(json_buf, sizeof(json_buf), "%d", intensity.val1);
		slide_set(MOISTURE_LIGHT_INT, json_buf, strlen(json_buf));

		snprintk(json_buf, sizeof(json_buf), "%d.%d C", temp.val1, (temp.val2 / 10000));
		slide_set(TEMPERATURE, json_buf, strlen(json_buf));

		snprintk(json_buf, sizeof(json_buf), "%d.%d kPa", pressure.val1, (pressure.val2 / 10000));
		slide_set(PRESSURE, json_buf, strlen(json_buf));

		snprintk(json_buf, sizeof(json_buf), "%d.%d %%RH", humidity.val1, (humidity.val2 / 10000));
		slide_set(HUMIDITY, json_buf, strlen(json_buf));

	));
}

void app_work_init(struct golioth_client *work_client)
{
	client = work_client;
}

void sensor_init(void)
{
	LOG_DBG("LIS2DH Init");
	imu_sensor = (void *) DEVICE_DT_GET_ANY(st_lis2dh);
	if (imu_sensor == NULL) {
		LOG_ERR("Could not get lis2dh device");
	}

	LOG_DBG("BME280 Init");
	weather_sensor = (void *) DEVICE_DT_GET_ANY(bosch_bme280);
	if (weather_sensor == NULL) {
		LOG_ERR("Could not get bme280 device");
	}

	LOG_DBG("APDS9960 Init");
	light_sensor = (void *) DEVICE_DT_GET_ANY(avago_apds9960);
	if (light_sensor == NULL) {
		LOG_ERR("Could not get apds9960 device");
	}
}
```

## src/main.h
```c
/*
 * Copyright (c) 2023 Golioth, Inc.
 *
 * SPDX-License-Identifier: Apache-2.0
 */

#ifndef __MAIN_H_
#define __MAIN_H_

void wake_system_thread(void);


#endif /* __MAIN_H__ */
```
